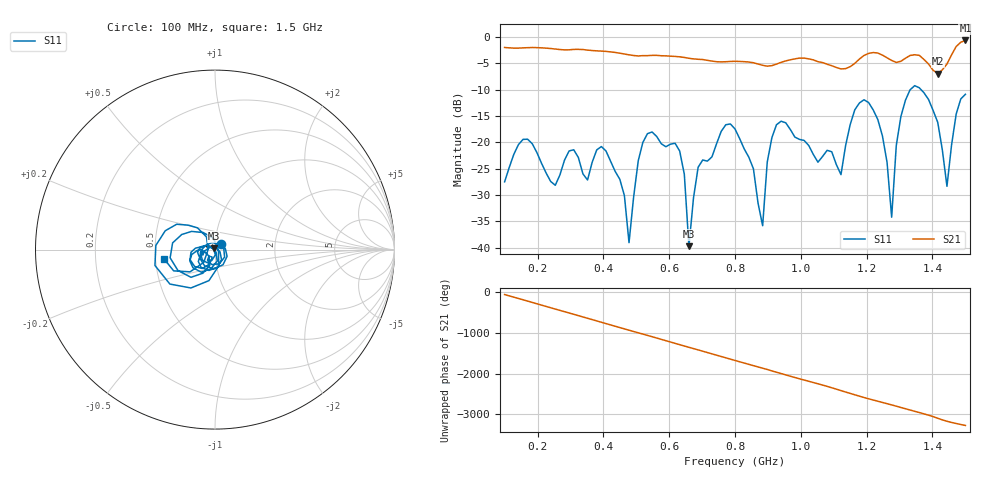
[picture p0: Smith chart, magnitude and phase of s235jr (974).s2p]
! NanoVNA-App
! Date: 2025-09-25 15:11:45
! Start: 100MHz Stop: 1,5GHz Points: 101
! S-Parameter data: F S11 S21 S12 S22
# Hz S RI R 50
!  Frequency  S11_Real  S11_Imag  S21_Real  S21_Imag  S12_Real  S12_Imag  S22_Real  S22_Imag
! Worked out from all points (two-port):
!   101 points, 100 MHz to 1.5 GHz, reference 50 ohm
!   highest |S21| = -0.63 dB at 1.5 GHz (marker M1); lowest = -6.9 dB at 1.416 GHz (marker M2)
!   |S21| within 3 dB of the highest: start of sweep to 607.5 MHz; 1.189 GHz to 1.254 GHz (65.05 MHz wide, 5.33 % of centre) (the widest 2 of 4)
!   lowest |S11| = -39.7 dB at 660 MHz (marker M3), VSWR 1.02, Z = 49.2 + j0.606 ohm
!   |S11| at or under -10 dB: start of sweep to 1.332 GHz; 1.366 GHz to end of sweep
!   S12 and S22 are empty: the file has one direction only
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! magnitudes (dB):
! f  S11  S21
! 100 MHz  -27.5  -2.0
! 156 MHz  -19.4  -2.0
! 338 MHz  -26.0  -2.4
! 408 MHz  -21.6  -2.7
! 478 MHz  -39.0  -3.4
! 520 MHz  -20.0  -3.5
! 576 MHz  -20.2  -3.5
! 632 MHz  -21.6  -3.7
! 660 MHz  -39.7  -4.0
! 688 MHz  -24.7  -4.2
! 800 MHz  -17.4  -4.6
! 884 MHz  -35.8  -5.3
! 926 MHz  -16.6  -5.1
! 1.038 GHz  -22.3  -4.3
! 1.122 GHz  -26.1  -6.0
! 1.206 GHz  -12.4  -3.1
! 1.276 GHz  -34.2  -4.4
! 1.29 GHz  -20.6  -4.8
! 1.332 GHz  -10.0  -3.5
! 1.416 GHz  -16.2  -6.9
! 1.444 GHz  -28.3  -5.1
! 1.5 GHz  -10.8  -0.6
